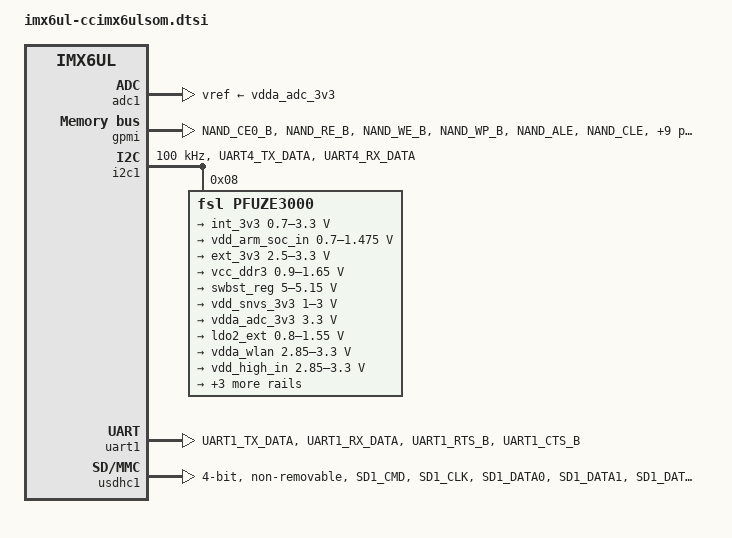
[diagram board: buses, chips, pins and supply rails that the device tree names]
// SPDX-License-Identifier: GPL-2.0
/*
 * Digi International's ConnectCore 6UL System-On-Module device tree source
 *
 * Copyright 2018 Digi International, Inc.
 *
 */

/ {
	memory@80000000 {
		device_type = "memory";
		reg = <0x80000000 0>; /* will be filled by U-Boot */
	};

	reserved-memory {
		#address-cells = <1>;
		#size-cells = <1>;
		ranges;

		linux,cma {
			compatible = "shared-dma-pool";
			reusable;
			size = <0x4000000>;
			linux,cma-default;
		};
	};
};

&adc1 {
	vref-supply = <&vdda_adc_3v3>;
};

&gpmi {
	pinctrl-names = "default";
	pinctrl-0 = <&pinctrl_gpmi_nand>;
	status = "okay";
};

&i2c1 {
	clock-frequency = <100000>;
	pinctrl-names = "default";
	pinctrl-0 = <&pinctrl_i2c1>;
	status = "okay";

	pfuze3000: pmic@8 {
		compatible = "fsl,pfuze3000";
		reg = <0x08>;

		regulators {
			int_3v3: sw1a {
				regulator-min-microvolt = <700000>;
				regulator-max-microvolt = <3300000>;
				regulator-ramp-delay = <6250>;
				regulator-boot-on;
				regulator-always-on;

				regulator-state-mem {
					regulator-off-in-suspend;
				};
			};

			vdd_arm_soc_in: sw1b {
				regulator-min-microvolt = <700000>;
				regulator-max-microvolt = <1475000>;
				regulator-ramp-delay = <6250>;
				regulator-boot-on;
				regulator-always-on;

				regulator-state-mem {
					regulator-on-in-suspend;
					regulator-suspend-microvolt = <925000>;
				};
			};

			ext_3v3: sw2 {
				regulator-min-microvolt = <2500000>;
				regulator-max-microvolt = <3300000>;
				regulator-ramp-delay = <6250>;
				regulator-always-on;
				regulator-boot-on;

				regulator-state-mem {
					regulator-off-in-suspend;
				};
			};

			vcc_ddr3: sw3 {
				regulator-min-microvolt = <900000>;
				regulator-max-microvolt = <1650000>;
				regulator-always-on;
				regulator-boot-on;

				regulator-state-mem {
					regulator-on-in-suspend;
					regulator-suspend-microvolt = <1300000>;
				};
			};

			swbst_reg: swbst {
				regulator-min-microvolt = <5000000>;
				regulator-max-microvolt = <5150000>;
			};

			vdd_snvs_3v3: vsnvs {
				regulator-min-microvolt = <1000000>;
				regulator-max-microvolt = <3000000>;
				regulator-boot-on;
				regulator-always-on;
			};

			vrefddr: vrefddr {
				regulator-boot-on;
				regulator-always-on;
			};

			vdda_adc_3v3: vldo1 {
				regulator-name = "vref-adc-3v3";
				regulator-min-microvolt = <3300000>;
				regulator-max-microvolt = <3300000>;
				regulator-always-on;

				regulator-state-mem {
					regulator-off-in-suspend;
				};
			};

			ldo2_ext: vldo2 {
				regulator-min-microvolt = <800000>;
				regulator-max-microvolt = <1550000>;
			};

			vdda_wlan: vccsd {
				regulator-min-microvolt = <2850000>;
				regulator-max-microvolt = <3300000>;
				regulator-always-on;
				regulator-boot-on;

				regulator-state-mem {
					regulator-off-in-suspend;
				};
			};

			vdd_high_in: v33 {
				regulator-min-microvolt = <2850000>;
				regulator-max-microvolt = <3300000>;
				regulator-boot-on;
				regulator-always-on;
			};

			ldo3_int: vldo3 {
				regulator-min-microvolt = <1800000>;
				regulator-max-microvolt = <3300000>;
			};

			ldo4_ext: vldo4 {
				regulator-min-microvolt = <1800000>;
				regulator-max-microvolt = <3300000>;
			};

			vcoin_chg: coin {
				regulator-min-microvolt = <2500000>;
				regulator-max-microvolt = <3300000>;
			};
		};
	};
};

/* UART1 (Bluetooth) */
&uart1 {
	pinctrl-names = "default";
	pinctrl-0 = <&pinctrl_uart1>;
	uart-has-rtscts;
	status = "okay";
};

/* USDHC1 (Wireless) */
&usdhc1 {
	pinctrl-names = "default", "sleep";
	pinctrl-0 = <&pinctrl_usdhc1 &pinctrl_wifibt_ctrl>;
	pinctrl-1 = <&pinctrl_usdhc1_sleep &pinctrl_wifibt_ctrl_sleep>;
	non-removable;
	no-1-8-v;
	bus-width = <4>;
	status = "okay";
};

&iomuxc {
	pinctrl_gpmi_nand: gpmigrp {
		fsl,pins = <
			MX6UL_PAD_NAND_CE0_B__RAWNAND_CE0_B	0xb0b1
			MX6UL_PAD_NAND_RE_B__RAWNAND_RE_B	0xb0b1
			MX6UL_PAD_NAND_WE_B__RAWNAND_WE_B	0xb0b1
			MX6UL_PAD_NAND_WP_B__RAWNAND_WP_B	0xb0b1
			MX6UL_PAD_NAND_ALE__RAWNAND_ALE		0xb0b1
			MX6UL_PAD_NAND_CLE__RAWNAND_CLE		0xb0b1
			MX6UL_PAD_NAND_DATA00__RAWNAND_DATA00	0xb0b1
			MX6UL_PAD_NAND_DATA01__RAWNAND_DATA01	0xb0b1
			MX6UL_PAD_NAND_DATA02__RAWNAND_DATA02	0xb0b1
			MX6UL_PAD_NAND_DATA03__RAWNAND_DATA03	0xb0b1
			MX6UL_PAD_NAND_DATA04__RAWNAND_DATA04	0xb0b1
			MX6UL_PAD_NAND_DATA05__RAWNAND_DATA05	0xb0b1
			MX6UL_PAD_NAND_DATA06__RAWNAND_DATA06	0xb0b1
			MX6UL_PAD_NAND_DATA07__RAWNAND_DATA07	0xb0b1
			MX6UL_PAD_NAND_READY_B__RAWNAND_READY_B	0xb0b1
		>;
	};

	pinctrl_i2c1: i2c1grp {
		fsl,pins = <
			MX6UL_PAD_UART4_TX_DATA__I2C1_SCL 0x4001b8b0
			MX6UL_PAD_UART4_RX_DATA__I2C1_SDA 0x4001b8b0
		>;
	};

	pinctrl_uart1: uart1grp {
		fsl,pins = <
			MX6UL_PAD_UART1_TX_DATA__UART1_DCE_TX   0x1b0b1
			MX6UL_PAD_UART1_RX_DATA__UART1_DCE_RX   0x1b0b1
			MX6UL_PAD_UART1_RTS_B__UART1_DCE_RTS    0x1b0b1
			MX6UL_PAD_UART1_CTS_B__UART1_DCE_CTS    0x1b0b1
		>;
	};

	pinctrl_usdhc1: usdhc1grp {
		fsl,pins = <
			MX6UL_PAD_SD1_CMD__USDHC1_CMD           0x17059
			MX6UL_PAD_SD1_CLK__USDHC1_CLK           0x17051
			MX6UL_PAD_SD1_DATA0__USDHC1_DATA0       0x17059
			MX6UL_PAD_SD1_DATA1__USDHC1_DATA1       0x17059
			MX6UL_PAD_SD1_DATA2__USDHC1_DATA2       0x17059
			MX6UL_PAD_SD1_DATA3__USDHC1_DATA3       0x17059
		>;
	};

	pinctrl_usdhc1_sleep: usdhc1-sleep-grp {
		fsl,pins = <
			MX6UL_PAD_SD1_CMD__GPIO2_IO16           0x3000
			MX6UL_PAD_SD1_CLK__GPIO2_IO17           0x3000
			MX6UL_PAD_SD1_DATA0__GPIO2_IO18         0x3000
			MX6UL_PAD_SD1_DATA1__GPIO2_IO19         0x3000
			MX6UL_PAD_SD1_DATA2__GPIO2_IO20         0x3000
			MX6UL_PAD_SD1_DATA3__GPIO2_IO21         0x3000
		>;
	};

	pinctrl_wifibt_ctrl: wifibt-ctrl-grp {
		fsl,pins = <
			MX6UL_PAD_SNVS_TAMPER0__GPIO5_IO00      0x08a0
			MX6UL_PAD_SNVS_TAMPER9__GPIO5_IO09      0x08a0
		>;
	};

	pinctrl_wifibt_ctrl_sleep: wifibt-ctrl-sleep-grp {
		fsl,pins = <
			MX6UL_PAD_SNVS_TAMPER0__GPIO5_IO00      0x3000
			MX6UL_PAD_SNVS_TAMPER9__GPIO5_IO09      0x3000
		>;
	};
};

&reg_arm {
	vin-supply = <&vdd_arm_soc_in>;
	regulator-allow-bypass;
};

&reg_soc {
	vin-supply = <&vdd_arm_soc_in>;
	regulator-allow-bypass;
};
